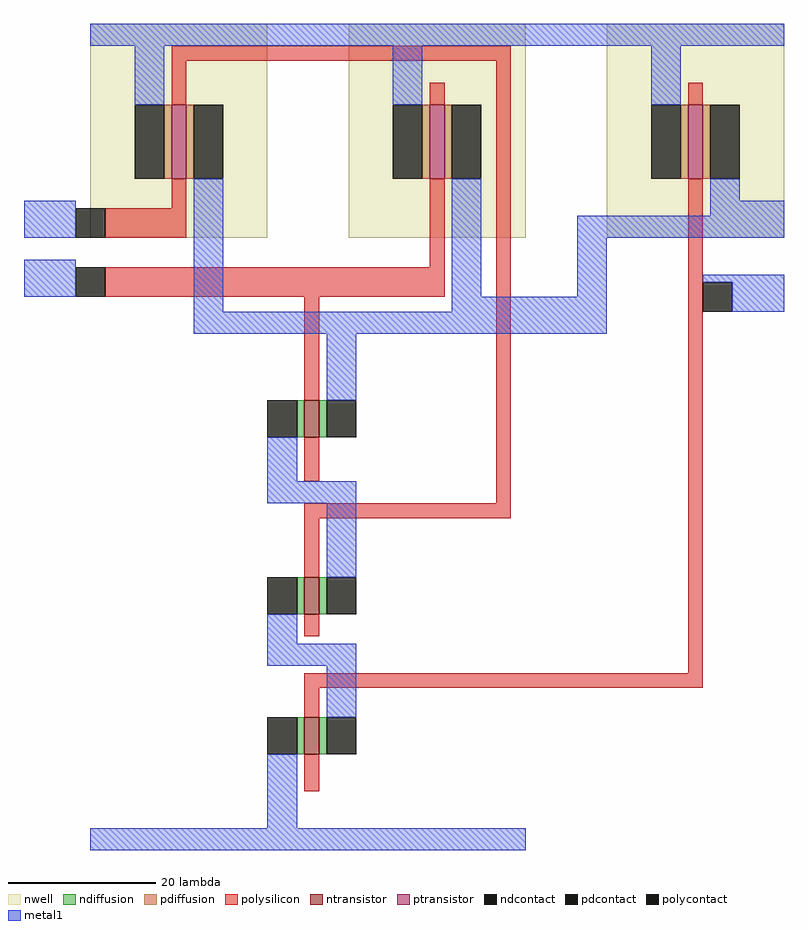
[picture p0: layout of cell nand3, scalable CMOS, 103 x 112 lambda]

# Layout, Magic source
magic
tech scmos
<< nwell >>
rect -37 -3 -13 26
rect -2 -3 22 26
rect 33 -3 57 26
<< ntransistor >>
rect -8 -30 -6 -25
rect -8 -54 -6 -49
rect -8 -73 -6 -68
<< ptransistor >>
rect -26 5 -24 15
rect 9 5 11 15
rect 44 5 46 15
<< ndiffusion >>
rect -9 -30 -8 -25
rect -6 -30 -5 -25
rect -9 -54 -8 -49
rect -6 -54 -5 -49
rect -9 -73 -8 -68
rect -6 -73 -5 -68
<< pdiffusion >>
rect -27 5 -26 15
rect -24 5 -23 15
rect 8 5 9 15
rect 11 5 12 15
rect 43 5 44 15
rect 46 5 47 15
<< ndcontact >>
rect -13 -30 -9 -25
rect -5 -30 -1 -25
rect -13 -54 -9 -49
rect -5 -54 -1 -49
rect -13 -73 -9 -68
rect -5 -73 -1 -68
<< pdcontact >>
rect -31 5 -27 15
rect -23 5 -19 15
rect 4 5 8 15
rect 12 5 16 15
rect 39 5 43 15
rect 47 5 51 15
<< polysilicon >>
rect -26 21 20 23
rect -26 15 -24 21
rect 9 15 11 18
rect -26 1 -24 5
rect -35 -3 -24 1
rect 9 -7 11 5
rect -35 -11 11 -7
rect -8 -25 -6 -11
rect -8 -36 -6 -30
rect 18 -39 20 21
rect 44 15 46 18
rect -8 -41 20 -39
rect -8 -49 -6 -41
rect -8 -57 -6 -54
rect 44 -62 46 5
rect -8 -64 46 -62
rect -8 -68 -6 -64
rect -8 -78 -6 -73
<< polycontact >>
rect -39 -3 -35 1
rect -39 -11 -35 -7
rect 46 -13 50 -9
<< metal1 >>
rect -37 23 57 26
rect -31 15 -27 23
rect 4 15 8 23
rect 39 15 43 23
rect -46 -3 -39 2
rect -46 -11 -39 -6
rect -23 -13 -19 5
rect 12 -11 16 5
rect 47 2 51 5
rect 47 0 57 2
rect 29 -3 57 0
rect 29 -11 33 -3
rect 12 -13 33 -11
rect 46 -9 57 -8
rect 50 -13 57 -9
rect -23 -16 33 -13
rect -5 -25 -1 -16
rect -13 -36 -9 -30
rect -13 -39 -1 -36
rect -5 -49 -1 -39
rect -13 -58 -9 -54
rect -13 -61 -1 -58
rect -5 -68 -1 -61
rect -13 -83 -9 -73
rect -37 -86 22 -83
<< end >>
